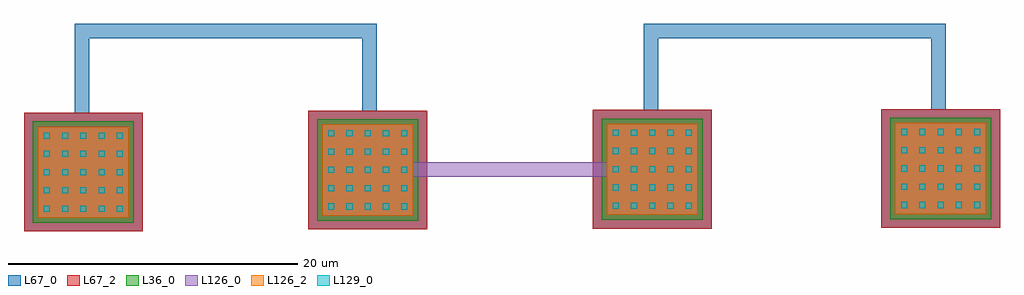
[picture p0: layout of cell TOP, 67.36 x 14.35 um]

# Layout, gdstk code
import gdstk
lib = gdstk.Library(unit=1e-6, precision=1e-09)
def R(c, l, rs):  # rectangles x0, y0, x1, y1
    for r in rs: c.add(gdstk.rectangle(r[:2], r[2:], *l))
def A(c, l, x, y, w, h, nx, ny, dx, dy):  # array of equal rectangles
    R(c, l, [(x+i*dx, y+j*dy, x+i*dx+w, y+j*dy+h) for i in range(nx) for j in range(ny)])
L36_0 = (36, 0)
L67_0 = (67, 0)
L67_2 = (67, 2)
L126_0 = (126, 0)
L126_2 = (126, 2)
L129_0 = (129, 0)

cmim_1 = lib.new_cell('cmim$1')
R(cmim_1, L36_0, [(0,0,6.99,6.99)])
R(cmim_1, L67_0, [(-0.6,-0.6,7.59,7.59)])
R(cmim_1, L126_0, [(0.345,0.345,6.645,6.645)])
A(cmim_1, L129_0, 0.765, 0.765, 0.42, 0.42, 5, 5, 1.26, 1.26)

top = lib.new_cell('TOP')
R(top, L67_2, [(-56.52,-95.245,-48.33,-87.055), (-36.89,-95.095,-28.7,-86.905), (-17.26,-95.045,-9.07,-86.855), (2.645,-94.995,10.835,-86.805)])
R(top, L126_2, [(-55.58,-94.305,-49.28,-88.005), (-35.95,-94.155,-29.65,-87.855), (-16.32,-94.105,-10.02,-87.805), (3.585,-94.055,9.885,-87.755)])
top.add(gdstk.FlexPath([(-33.5,-90.965),(-11.797,-90.965)], 1, ends="flush", simple_path=True, layer=126, datatype=0))  # L126_0
top.add(gdstk.FlexPath([(-32.672,-87.35),(-32.672,-81.395),(-52.505,-81.395),(-52.505,-87.35)], 1, ends="flush", simple_path=True, layer=67, datatype=0))  # L67_0
top.add(gdstk.FlexPath([(6.598,-87.35),(6.598,-81.395),(-13.235,-81.395),(-13.235,-87.35)], 1, ends="flush", simple_path=True, layer=67, datatype=0))  # L67_0
top.add(gdstk.Reference(cmim_1, (-36.29,-94.495)))
top.add(gdstk.Reference(cmim_1, (-16.66,-94.445)))
top.add(gdstk.Reference(cmim_1, (3.245,-94.395)))
top.add(gdstk.Reference(cmim_1, (-55.92,-94.645)))

lib.write_gds('TOP.gds')
